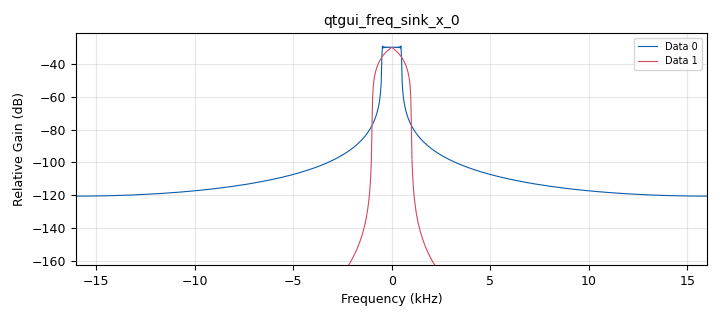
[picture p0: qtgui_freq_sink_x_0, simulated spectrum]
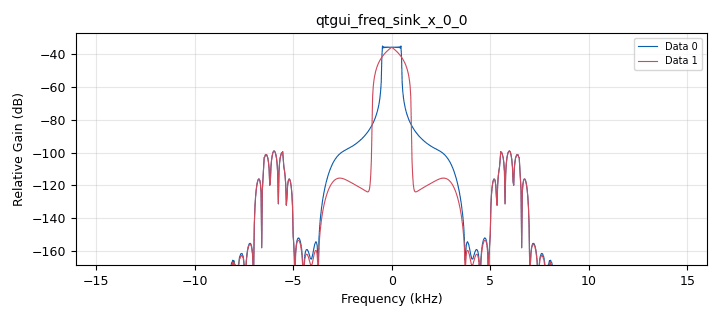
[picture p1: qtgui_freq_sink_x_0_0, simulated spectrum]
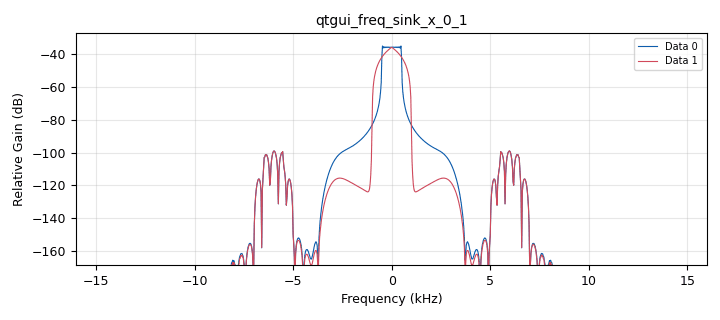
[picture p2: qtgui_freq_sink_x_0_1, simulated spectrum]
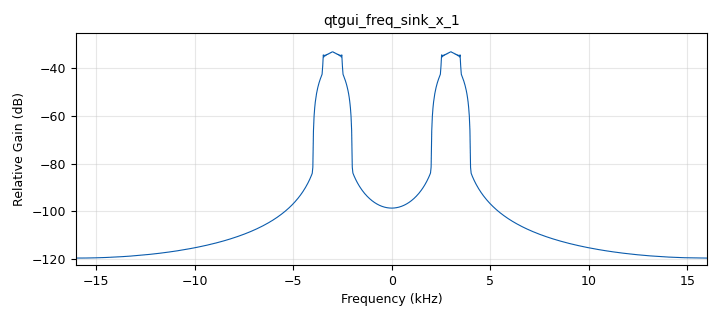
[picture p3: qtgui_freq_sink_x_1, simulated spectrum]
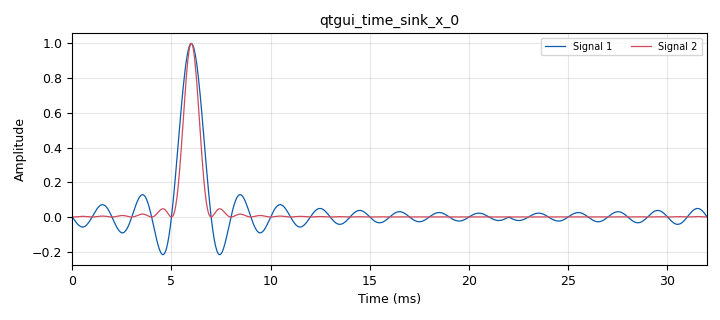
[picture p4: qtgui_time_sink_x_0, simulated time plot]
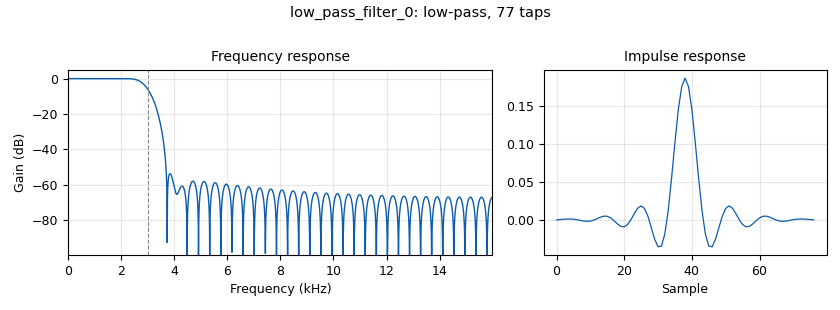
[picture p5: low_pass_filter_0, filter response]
options:
  parameters:
    author: p
    generate_options: qt_gui
    id: week2_lecture7
    output_language: python
    title: Not titled yet
  states: {}

blocks:
- name: fc
  id: variable_qtgui_range
  parameters:
    start: '3000'
    step: '1'
    stop: '8000'
    value: '3000'
  states: {}
- name: samp_rate
  id: variable
  parameters:
    value: '32000'
  states: {}
- name: t_vals
  id: variable
  parameters:
    value: numpy.arange(-512,512)/32
  states: {}
- name: analog_sig_source_x_0
  id: analog_sig_source_x
  parameters:
    amp: '1'
    freq: fc
    offset: '0'
    phase: '0'
    samp_rate: samp_rate
    type: float
    waveform: analog.GR_COS_WAVE
  states: {}
- name: analog_sig_source_x_0_0
  id: analog_sig_source_x
  parameters:
    amp: '-1'
    freq: fc
    offset: '0'
    phase: '0'
    samp_rate: samp_rate
    type: float
    waveform: analog.GR_SIN_WAVE
  states: {}
- name: blocks_add_xx_0
  id: blocks_add_xx
  parameters:
    type: float
  states: {}
- name: blocks_multiply_xx_0
  id: blocks_multiply_xx
  parameters:
    type: float
  states: {}
- name: blocks_multiply_xx_0_0
  id: blocks_multiply_xx
  parameters:
    type: float
  states: {}
- name: blocks_multiply_xx_0_1
  id: blocks_multiply_xx
  parameters:
    type: float
  states: {}
- name: blocks_multiply_xx_0_1_0
  id: blocks_multiply_xx
  parameters:
    type: float
  states: {}
- name: blocks_throttle2_0
  id: blocks_throttle2
  parameters:
    samples_per_second: samp_rate
    type: float
  states: {}
- name: blocks_vector_source_x_0
  id: blocks_vector_source_x
  parameters:
    repeat: 'True'
    type: float
    vector: numpy.sinc(t_vals)
  states: {}
- name: blocks_vector_source_x_0_0
  id: blocks_vector_source_x
  parameters:
    repeat: 'True'
    type: float
    vector: 'numpy.sinc(t_vals)**2 '
  states: {}
- name: import_0
  id: import
  parameters:
    imports: import numpy
  states: {}
- name: low_pass_filter_0
  id: low_pass_filter
  parameters:
    cutoff_freq: fc
    gain: '1'
    interp: '1'
    samp_rate: samp_rate
    type: interp_fir_filter_fff
    width: '1000'
    win: window.WIN_HAMMING
  states: {}
- name: low_pass_filter_0_0
  id: low_pass_filter
  parameters:
    cutoff_freq: fc
    gain: '1'
    interp: '1'
    samp_rate: samp_rate
    type: interp_fir_filter_fff
    width: '1000'
    win: window.WIN_HAMMING
  states: {}
- name: qtgui_freq_sink_x_0
  id: qtgui_freq_sink_x
  parameters:
    autoscale: 'True'
    bw: samp_rate
    fc: '0'
    fftsize: '1024'
    grid: 'True'
    nconnections: '2'
    type: float
    wintype: window.WIN_RECTANGULAR
  states: {}
- name: qtgui_freq_sink_x_0_0
  id: qtgui_freq_sink_x
  parameters:
    autoscale: 'True'
    bw: samp_rate
    fc: '0'
    fftsize: '1024'
    grid: 'True'
    nconnections: '2'
    type: float
    wintype: window.WIN_RECTANGULAR
  states: {}
- name: qtgui_freq_sink_x_0_1
  id: qtgui_freq_sink_x
  parameters:
    autoscale: 'True'
    bw: samp_rate
    fc: '0'
    fftsize: '1024'
    grid: 'True'
    nconnections: '2'
    type: float
    wintype: window.WIN_RECTANGULAR
  states: {}
- name: qtgui_freq_sink_x_1
  id: qtgui_freq_sink_x
  parameters:
    autoscale: 'True'
    bw: samp_rate
    fc: '0'
    fftsize: '1024'
    grid: 'True'
    type: float
    wintype: window.WIN_RECTANGULAR
  states: {}
- name: qtgui_time_sink_x_0
  id: qtgui_time_sink_x
  parameters:
    autoscale: 'True'
    grid: 'True'
    nconnections: '2'
    size: '1024'
    srate: samp_rate
    type: float
  states: {}

connections:
- [analog_sig_source_x_0, '0', blocks_multiply_xx_0, '1']
- [analog_sig_source_x_0, '0', blocks_multiply_xx_0_1, '1']
- [analog_sig_source_x_0_0, '0', blocks_multiply_xx_0_0, '1']
- [analog_sig_source_x_0_0, '0', blocks_multiply_xx_0_1_0, '1']
- [blocks_add_xx_0, '0', blocks_multiply_xx_0_1, '0']
- [blocks_add_xx_0, '0', blocks_multiply_xx_0_1_0, '0']
- [blocks_add_xx_0, '0', qtgui_freq_sink_x_1, '0']
- [blocks_multiply_xx_0, '0', blocks_add_xx_0, '0']
- [blocks_multiply_xx_0_0, '0', blocks_add_xx_0, '1']
- [blocks_multiply_xx_0_1, '0', low_pass_filter_0, '0']
- [blocks_multiply_xx_0_1_0, '0', low_pass_filter_0_0, '0']
- [blocks_throttle2_0, '0', qtgui_freq_sink_x_0, '0']
- [blocks_throttle2_0, '0', qtgui_time_sink_x_0, '0']
- [blocks_vector_source_x_0, '0', blocks_multiply_xx_0, '0']
- [blocks_vector_source_x_0, '0', blocks_throttle2_0, '0']
- [blocks_vector_source_x_0_0, '0', blocks_multiply_xx_0_0, '0']
- [blocks_vector_source_x_0_0, '0', qtgui_freq_sink_x_0, '1']
- [blocks_vector_source_x_0_0, '0', qtgui_time_sink_x_0, '1']
- [low_pass_filter_0, '0', qtgui_freq_sink_x_0_0, '0']
- [low_pass_filter_0, '0', qtgui_freq_sink_x_0_1, '0']
- [low_pass_filter_0_0, '0', qtgui_freq_sink_x_0_0, '1']
- [low_pass_filter_0_0, '0', qtgui_freq_sink_x_0_1, '1']

metadata:
  file_format: 1
  grc_version: 3.10.7.0
